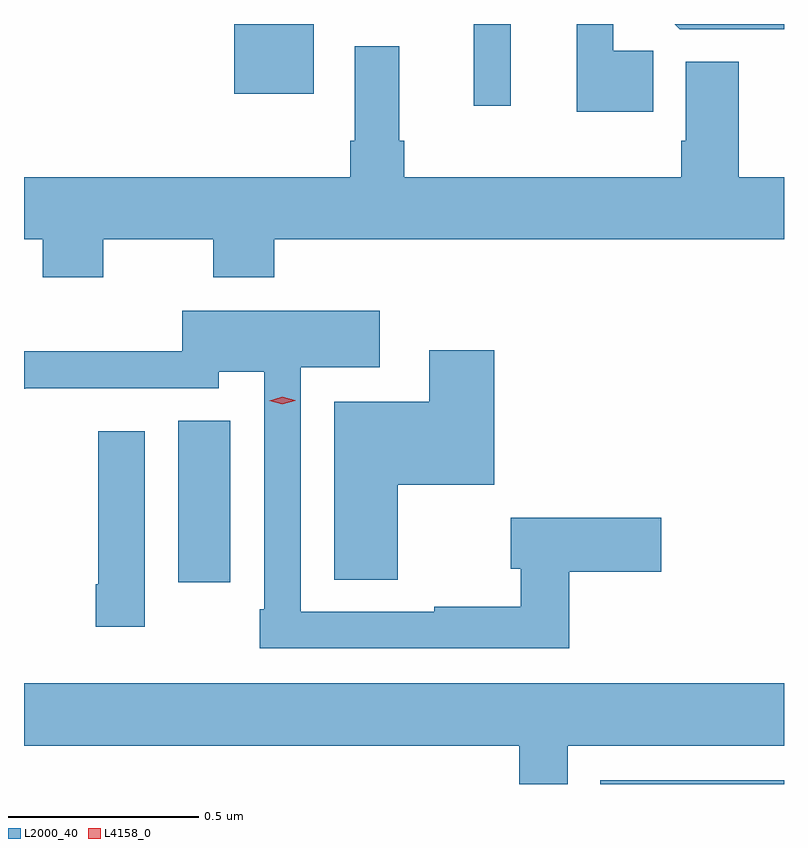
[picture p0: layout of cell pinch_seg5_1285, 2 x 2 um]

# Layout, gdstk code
import gdstk
lib = gdstk.Library(unit=1e-6, precision=1e-09)
def R(c, l, rs):  # rectangles x0, y0, x1, y1
    for r in rs: c.add(gdstk.rectangle(r[:2], r[2:], *l))
def P(c, l, *ps):  # polygons
    for p in ps: c.add(gdstk.Polygon(p, *l))
L2000_40 = (2000, 40)
L4158_0 = (4158, 0)

pinch_seg5_1285 = lib.new_cell('pinch_seg5_1285')
R(pinch_seg5_1285, L2000_40, [(425.534,887.295,426.018,887.305), (424.424,887.826,424.561,888.251), (425.201,889.08,425.299,889.295), (424.571,889.112,424.78,889.295)])
P(pinch_seg5_1285, L2000_40, [(425.674,889.225),(425.568,889.225),(425.568,889.295),(425.472,889.295),(425.472,889.064),(425.674,889.064)],
  [(426.018,889.295),(425.73,889.295),(425.744,889.281),(426.018,889.281)],
  [(424.227,888.728),(424.516,888.728),(424.516,888.629),(424.676,888.629),(424.676,888.728),(426.018,888.728),(426.018,888.892),(425.899,888.892),(425.899,889.196),(425.759,889.196),(425.759,888.988),(425.747,888.988),(425.747,888.892),(425.018,888.892),(425.018,888.988),(425.005,888.988),(425.005,889.237),(424.889,889.237),(424.889,888.988),(424.877,888.988),(424.877,888.892),(424.018,888.892),(424.018,888.728),(424.067,888.728),(424.067,888.629),(424.227,888.629)],
  [(425.453,887.854),(425.695,887.854),(425.695,887.996),(425.299,887.996),(425.299,887.861),(425.325,887.861),(425.325,887.761),(425.098,887.761),(425.098,887.748),(424.746,887.748),(424.746,888.392),(424.954,888.392),(424.954,888.541),(424.434,888.541),(424.434,888.434),(424.018,888.434),(424.018,888.335),(424.021,888.335),(424.021,888.336),(424.53,888.336),(424.53,888.38),(424.65,888.38),(424.65,887.755),(424.638,887.755),(424.638,887.652),(425.453,887.652)],
  [(425.002,888.083),(425.255,888.083),(425.255,888.436),(425.084,888.436),(425.084,888.301),(424.835,888.301),(424.835,887.833),(425.002,887.833)],
  [(424.336,888.223),(424.214,888.223),(424.214,887.821),(424.207,887.821),(424.207,887.709),(424.336,887.709)],
  [(425.449,887.396),(426.018,887.396),(426.018,887.56),(424.018,887.56),(424.018,887.396),(425.321,887.396),(425.321,887.295),(425.449,887.295)])
P(pinch_seg5_1285, L4158_0, [(424.698,888.294),(424.663,888.303),(424.663,888.303),(424.663,888.303),(424.697,888.314),(424.732,888.305),(424.732,888.304),(424.732,888.304)])

lib.write_gds('pinch_seg5_1285.gds')
